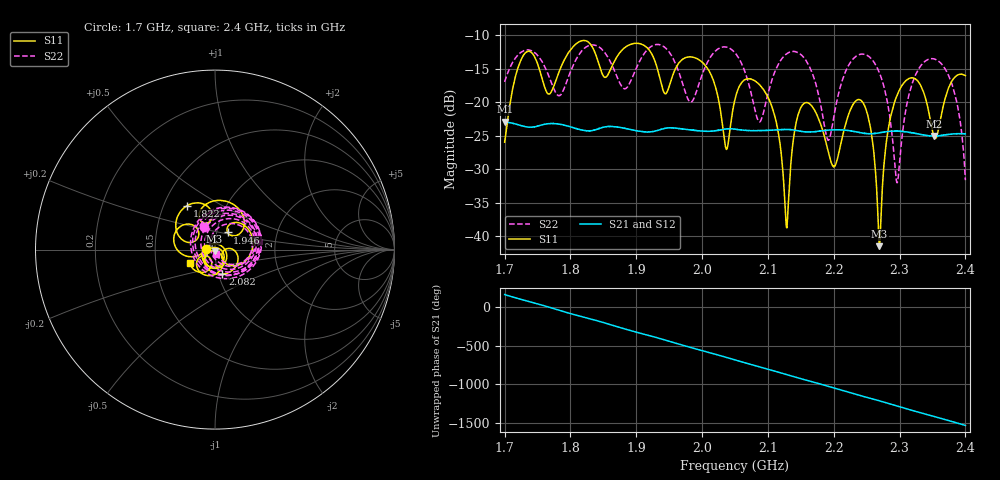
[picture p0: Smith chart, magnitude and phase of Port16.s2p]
# Hz S RI R 50
! CMT, CMT808U, 21440046, 21.4.3/4
! Date: 9/9/2026 12:59:38 AM
! Data: Format (Calibration Info)
! Freq	S11:Re/Im(F2)	S41:Re/Im(F2)	S14:Re/Im(F2)	S44:Re/Im(F2)
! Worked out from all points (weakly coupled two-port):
!   3001 points, 1.7 GHz to 2.4 GHz, reference 50 ohm
!   highest |S21| = -22.90 dB at 1.701 GHz (marker M1); lowest = -25.0 dB at 2.352 GHz (marker M2)
!   lowest |S11| = -41.5 dB at 2.269 GHz (marker M3), VSWR 1.02, Z = 49.7 - j0.794 ohm
!   |S11| at or under -10 dB: start of sweep to end of sweep
!   |S22| runs from -32.0 to -11.3 dB; largest |S21 - S12| = 0.0011
!   S11 on the Smith chart (normalised r, x): 1.7 GHz: 0.90, +0.01; 1.822 GHz: 0.66, +0.35; 1.946 GHz: 1.13, +0.22; 2.082 GHz: 1.04, -0.29; 2.4 GHz: 0.75, -0.11
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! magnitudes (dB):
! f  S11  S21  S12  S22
! 1.7 GHz  -25.9  -22.9  -22.9  -16.9
! 1.701 GHz  -25.5  -22.9  -22.9  -16.7
! 1.73 GHz  -12.8  -23.6  -23.6  -12.2
! 1.817 GHz  -10.8  -24.1  -24.1  -12.4
! 1.822 GHz  -10.7  -24.2  -24.2  -11.9
! 1.934 GHz  -15.5  -24.2  -24.2  -11.3
! 1.946 GHz  -18.5  -23.8  -23.8  -12.0
! 1.983 GHz  -13.2  -24.1  -24.1  -19.9
! 2.037 GHz  -27.0  -24.0  -24.0  -11.7
! 2.05 GHz  -19.5  -24.0  -24.0  -12.6
! 2.082 GHz  -16.9  -24.2  -24.2  -21.7
! 2.112 GHz  -22.6  -24.1  -24.1  -15.1
! 2.128 GHz  -38.6  -24.0  -24.0  -12.7
! 2.144 GHz  -22.4  -24.2  -24.2  -12.5
! 2.167 GHz  -20.5  -24.4  -24.4  -15.4
! 2.192 GHz  -27.5  -24.2  -24.1  -25.6
! 2.245 GHz  -20.1  -24.6  -24.6  -12.8
! 2.269 GHz  -41.5  -24.6  -24.5  -15.5
! 2.284 GHz  -23.6  -24.3  -24.3  -21.1
! 2.297 GHz  -18.8  -24.3  -24.3  -31.9
! 2.352 GHz  -25.0  -25.0  -25.0  -13.5
! 2.4 GHz  -16.0  -24.7  -24.7  -31.6
